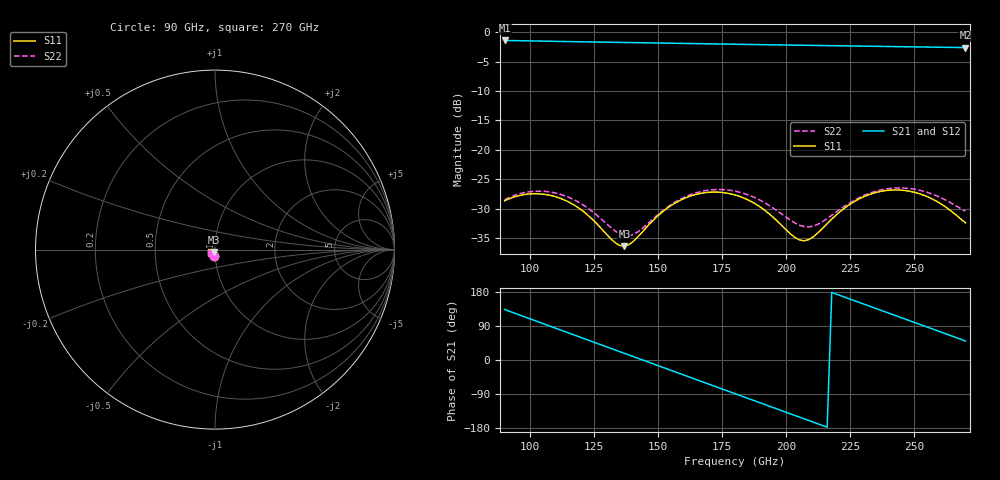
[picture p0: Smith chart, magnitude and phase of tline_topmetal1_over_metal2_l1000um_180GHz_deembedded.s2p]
! Created with skrf 2.2.0 (http://scikit-rf.org).
# GHz S DB R 50.0
! Port[1] = P1
! Port[2] = P2
!freq dBS11 angS11 dBS21 angS21 dBS12 angS12 dBS22 angS22
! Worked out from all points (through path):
!   101 points, 90 GHz to 270 GHz, reference 50 ohm
!   highest |S21| = -1.42 dB at 90 GHz (marker M1); lowest = -2.6 dB at 270 GHz (marker M2)
!   group delay of S21, straight-line fit = 6.83 ps
!   lowest |S11| = -36.3 dB at 136.8 GHz (marker M3), VSWR 1.03, Z = 49.2 - j1.27 ohm
!   |S11| at or under -10 dB: start of sweep to end of sweep
!   |S22| runs from -34.6 to -26.5 dB; largest |S21 - S12| = 9.4e-14
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90  -28.63 -94.7  -1.42 133.3  -1.42 133.3  -28.46 -94.9
99  -27.50 -112.0  -1.49 111.0  -1.49 111.0  -27.14 -110.9
106.2  -27.57 -126.1  -1.55 93.1  -1.55 93.1  -27.05 -124.2
113.4  -28.50 -138.9  -1.60 75.3  -1.60 75.3  -27.76 -136.3
120.6  -30.38 -148.4  -1.65 57.5  -1.65 57.5  -29.31 -145.5
129.6  -34.21 -147.2  -1.72 35.3  -1.72 35.3  -32.44 -146.3
136.8  -36.33 -122.2  -1.76 17.6  -1.76 17.6  -34.54 -129.1
142.2  -34.69 -102.5  -1.80 4.2  -1.80 4.2  -33.87 -111.4
151.2  -30.68 -97.6  -1.86 -18.0  -1.86 -18.0  -30.50 -101.8
158.4  -28.59 -105.3  -1.91 -35.7  -1.91 -35.7  -28.41 -106.8
167.4  -27.31 -119.3  -1.98 -57.9  -1.98 -57.9  -26.99 -118.5
180  -27.64 -139.9  -2.06 -88.9  -2.06 -88.9  -26.99 -136.8
187.2  -28.96 -149.6  -2.11 -106.6  -2.11 -106.6  -27.98 -145.4
194.4  -31.23 -154.3  -2.16 -124.3  -2.16 -124.3  -29.72 -149.9
205.2  -35.29 -134.6  -2.23 -150.8  -2.23 -150.8  -32.77 -138.2
210.6  -34.74 -113.4  -2.26 -164.0  -2.26 -164.0  -32.92 -123.5
217.8  -31.74 -101.2  -2.31 178.3  -2.31 178.3  -31.08 -110.4
225  -29.19 -103.7  -2.35 160.6  -2.35 160.6  -28.93 -109.4
241.2  -26.81 -125.2  -2.46 120.9  -2.46 120.9  -26.51 -125.4
248.4  -27.03 -135.8  -2.50 103.3  -2.50 103.3  -26.56 -134.4
255.6  -28.02 -145.1  -2.55 85.6  -2.55 85.6  -27.27 -142.1
270  -32.38 -146.6  -2.63 50.4  -2.63 50.4  -30.41 -144.2
